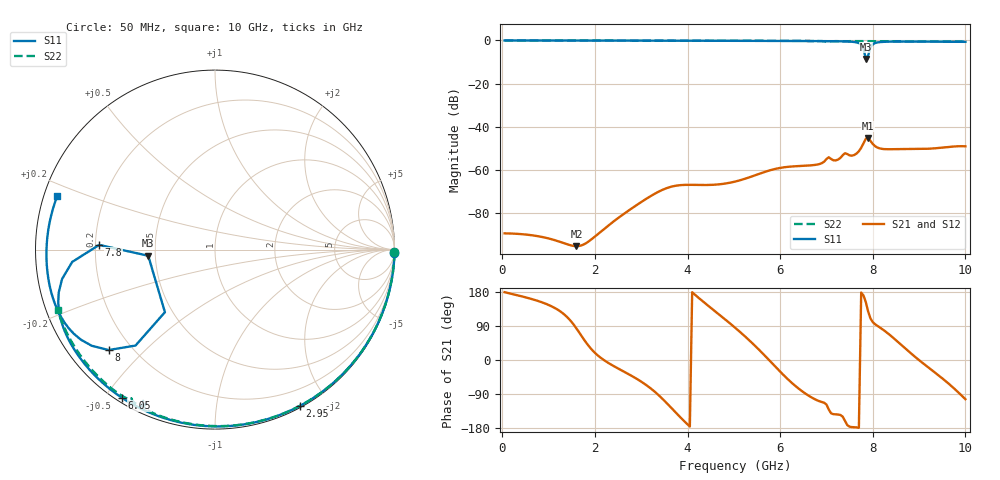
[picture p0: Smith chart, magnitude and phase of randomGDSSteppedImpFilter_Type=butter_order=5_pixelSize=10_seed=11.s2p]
! freq	dB(S11)	phase(S11)	dB(S12)	phase(S12)
!  dB(S21)	phase(S21)	dB(S22)	phase(S22)
!S-par simulation data
#  GHz  S  DB  R 50
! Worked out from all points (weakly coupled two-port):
!   200 points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, 50 MHz to 10 GHz, reference 50 ohm
!   highest |S21| = -45.14 dB at 7.9 GHz (marker M1); lowest = -95.2 dB at 1.6 GHz (marker M2)
!   lowest |S11| = -8.6 dB at 7.85 GHz (marker M3), VSWR 2.19, Z = 22.8 - j1.81 ohm
!   |S11| at or under -10 dB: nowhere
!   |S22| runs from -0.6 to 0.0 dB; largest |S21 - S12| = 0
!   S11 on the Smith chart (normalised r, x): 50 MHz: open; 2.95 GHz: 0.02, -1.68; 6.05 GHz: 0.02, -0.55; 7.8 GHz: 0.22, +0.02; 8 GHz: 0.12, -0.39; 10 GHz: 0.04, +0.16
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0.05  -0.00 -1.1  -89.27 179.0  -89.27 179.0  -0.00 -0.9
1.6  -0.04 -33.9  -95.19 83.6  -95.19 83.6  -0.04 -28.0
1.75  -0.05 -37.0  -94.48 56.4  -94.48 56.4  -0.04 -30.5
2.65  -0.07 -55.5  -79.87 -32.2  -79.87 -32.2  -0.06 -45.8
2.95  -0.08 -61.6  -75.47 -53.2  -75.47 -53.2  -0.07 -50.8
3.4  -0.09 -70.6  -69.70 -95.6  -69.70 -95.6  -0.08 -58.2
3.8  -0.11 -78.5  -67.05 -145.6  -67.05 -145.6  -0.09 -64.8
5.05  -0.16 -102.7  -65.18 82.9  -65.18 82.9  -0.13 -84.6
6.05  -0.22 -122.1  -58.79 -36.9  -58.79 -36.9  -0.18 -100.0
6.7  -0.28 -135.3  -57.72 -100.3  -57.72 -100.3  -0.23 -110.1
7.05  -0.33 -143.1  -54.05 -130.7  -54.05 -130.7  -0.60 -113.9
7.25  -0.38 -148.2  -55.13 -143.9  -55.13 -143.9  -0.31 -117.7
7.4  -0.44 -152.7  -52.18 -160.9  -52.18 -160.9  -0.44 -119.2
7.6  -0.71 -161.4  -53.00 -177.4  -53.00 -177.4  -0.31 -122.4
7.75  -1.95 -175.1  -49.66 178.0  -49.66 178.0  -0.31 -124.8
7.8  -3.79 177.7  -47.53 170.1  -47.53 170.1  -0.31 -125.6
7.85  -8.55 -174.8  -45.48 152.6  -45.48 152.6  -0.31 -126.3
7.9  -7.00 -128.7  -45.14 128.0  -45.14 128.0  -0.32 -127.1
7.95  -3.17 -129.6  -46.46 109.8  -46.46 109.8  -0.32 -127.8
8  -1.77 -136.7  -47.89 100.0  -47.89 100.0  -0.33 -128.6
8.35  -0.55 -157.7  -50.33 68.0  -50.33 68.0  -0.36 -133.9
10  -0.65 161.3  -48.99 -103.4  -48.99 -103.4  -0.54 -159.0
